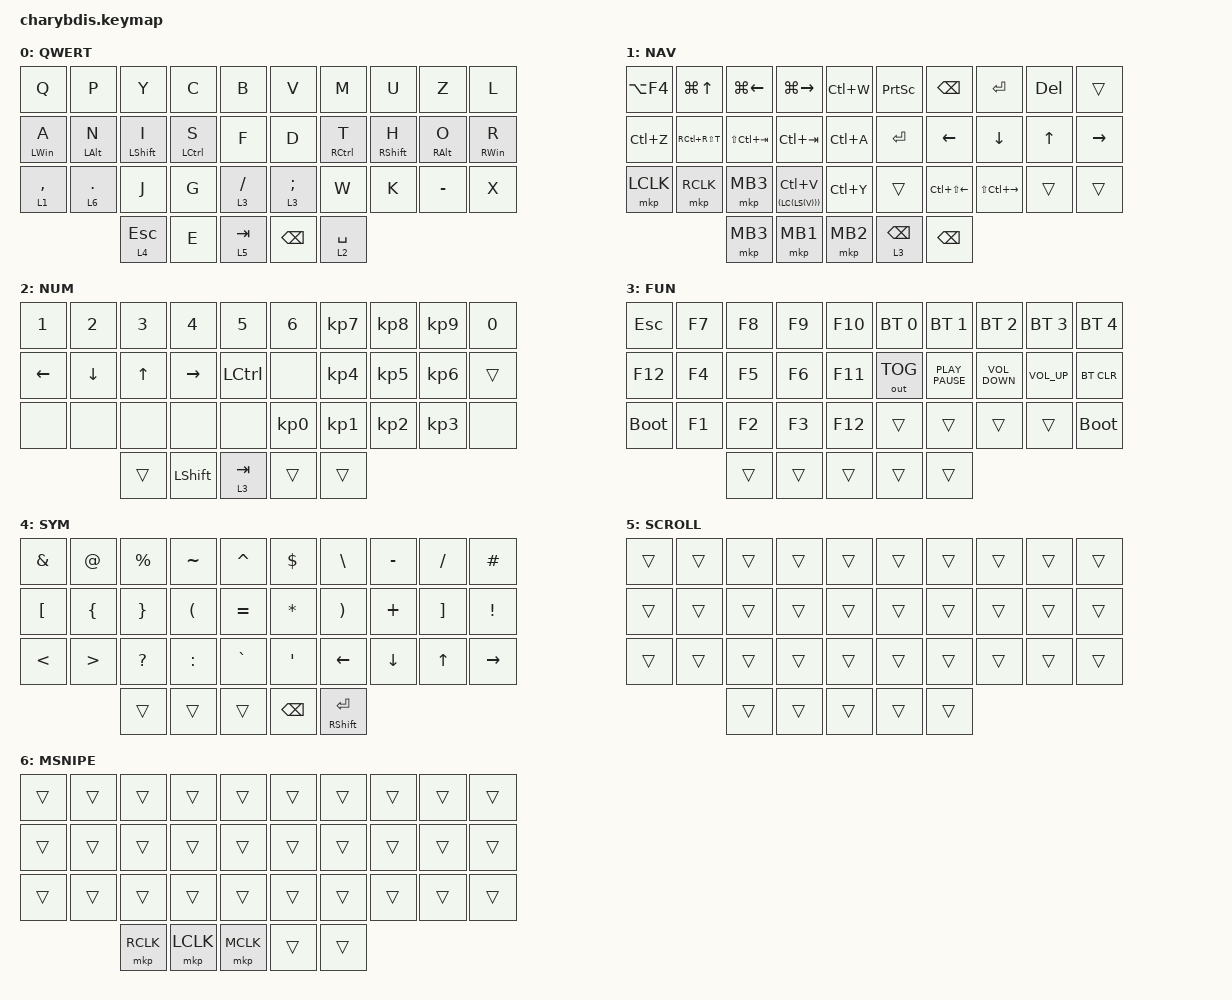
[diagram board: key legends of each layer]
#include <behaviors/mouse_keys.dtsi>
#include <dt-bindings/zmk/mouse.h>
#include <behaviors.dtsi>
#include <dt-bindings/zmk/bt.h>
#include <dt-bindings/zmk/keys.h>
#include <dt-bindings/zmk/outputs.h>

&lt {
    tapping-term-ms = <200>;
    flavor = "hold-preferred";
    quick-tap-ms = <150>;
    require-prior-idle-ms = <10>;
};

&mt {
    tapping-term-ms = <200>;
    flavor = "tap-preferred";
    require-prior-idle-ms = <200>;
};

/* Timeless homerow mods (recipe from https://github.com/urob/zmk-config#timeless-homerow-mods).
 * Balanced hold-taps that only resolve as a "hold" when the next key is on the
 * opposite hand or is a thumb key. Taps stay fast (quick-tap 175 ms and
 * require-prior-idle 150 ms), and the long 280 ms tapping term is never felt,
 * because the balanced flavor plus hold-trigger-on-release short-circuit it. */

#define KEY_L_TOP    0 1 2 3 4
#define KEY_L_HOME   10 11 12 13 14
#define KEY_L_BOTTOM 20 21 22 23 24
#define KEY_R_TOP    5 6 7 8 9
#define KEY_R_HOME   15 16 17 18 19
#define KEY_R_BOTTOM 25 26 27 28 29

#define THUMBS_L 30 31 32
#define THUMBS_R 33 34
#define THUMBS   THUMBS_L THUMBS_R

#define KEYS_L KEY_L_TOP KEY_L_HOME KEY_L_BOTTOM THUMBS_L
#define KEYS_R KEY_R_TOP KEY_R_HOME KEY_R_BOTTOM THUMBS_R

#define TIMELESS_HRM_PROPS                                                            \
    flavor = "balanced";                                                              \
    tapping-term-ms = <280>;                                                          \
    quick-tap-ms = <175>;                                                             \
    require-prior-idle-ms = <150>;                                                    \
    hold-trigger-on-release;

/ {
    chosen { zmk,matrix_transform = &five_column_transform; };
};

/ {
    combos {
        compatible = "zmk,combos";

        LeftClickRight {
            bindings = <&hrc_t_h RS(RCTRL) LCLK>;
            key-positions = <16 17>;
        };

        RightClickRight {
            bindings = <&hrc_h_o RS(RALT) RCLK>;
            key-positions = <17 18>;
        };

        enter {
            bindings = <&kp ENTER>;
            key-positions = <26 27>;
        };
    };

    behaviors {
        Shift_Enter: Shift_Enter {
            compatible = "zmk,behavior-hold-tap";
            label = "SHIFT_ENTER";
            bindings = <&kp>, <&kp>;

            #binding-cells = <2>;
            hold-trigger-key-positions = <34>;
            tapping-term-ms = <100>;
        };

        /* Left-hand homerow mods (A, N, I, S). */
        hml: left_homerow_mod {
            compatible = "zmk,behavior-hold-tap";
            #binding-cells = <2>;
            bindings = <&kp>, <&kp>;
            TIMELESS_HRM_PROPS
            hold-trigger-key-positions = <KEYS_R THUMBS>;
        };

        /* Right-hand homerow mods (T, H, O, R). */
        hmr: right_homerow_mod {
            compatible = "zmk,behavior-hold-tap";
            #binding-cells = <2>;
            bindings = <&kp>, <&kp>;
            TIMELESS_HRM_PROPS
            hold-trigger-key-positions = <KEYS_L THUMBS>;
        };

        /* HRM-mod combos (see ZMK issue #544): combo bindings wrapped in a
           Timeless hold-tap. A quick tap fires the combo; holding the homerow
           mods still yields the natural mod chord. The hold cell is the mod
           chord of the two homerow mods; the tap cell is the combo output
           sent through &mkp. */
        hrc_n_i: hrc_n_i {
            compatible = "zmk,behavior-hold-tap";
            #binding-cells = <2>;
            bindings = <&kp>, <&mkp>;
            TIMELESS_HRM_PROPS
            hold-trigger-key-positions = <KEYS_R THUMBS>;
        };

        hrc_t_h: hrc_t_h {
            compatible = "zmk,behavior-hold-tap";
            #binding-cells = <2>;
            bindings = <&kp>, <&mkp>;
            TIMELESS_HRM_PROPS
            hold-trigger-key-positions = <KEYS_L THUMBS>;
        };

        hrc_h_o: hrc_h_o {
            compatible = "zmk,behavior-hold-tap";
            #binding-cells = <2>;
            bindings = <&kp>, <&mkp>;
            TIMELESS_HRM_PROPS
            hold-trigger-key-positions = <KEYS_L THUMBS>;
        };
    };

    keymap {
        compatible = "zmk,keymap";

        QWERT {
            bindings =  <
  &kp Q           &kp P           &kp Y             &kp C               &kp B        &kp V          &kp M                &kp U              &kp Z            &kp L
  &hml LEFT_WIN A &hml LEFT_ALT N &hml LEFT_SHIFT I &hml LEFT_CONTROL S &kp F        &kp D          &hmr RIGHT_CONTROL T &hmr RIGHT_SHIFT H &hmr RIGHT_ALT O &hmr RIGHT_WIN R
  &lt 1 COMMA     &lt 6 PERIOD      &kp J             &kp G               &lt 3 SLASH    &lt 3 SEMICOLON  &kp W                &kp K              &kp MINUS        &kp X
                                  &lt 4 ESCAPE      &kp E             &lt 5 TAB    &kp BACKSPACE      &lt 2 SPACE
            >;
        };

        NAV {
            bindings = <
  &kp LA(F4)  &kp LG(UP_ARROW)  &kp LG(LEFT)     &kp LG(RIGHT)          &kp LC(W)    &kp PRINTSCREEN  &kp BACKSPACE     &kp ENTER          &kp DELETE    &trans
  &kp LC(Z)   &kp RC(RS(T))     &kp LS(LC(TAB))  &kp LC(TAB)            &kp LC(A)    &kp ENTER        &kp LEFT          &kp DOWN           &kp UP_ARROW  &kp RIGHT
  &mkp LCLK   &mkp RCLK         &mkp MB3         &mt (LC(LS(V))) LC(V)  &kp LC(Y)    &trans           &kp LC(LS(LEFT))  &kp LS(LC(RIGHT))  &trans        &trans
                                &mkp MB3         &mkp MB1               &mkp MB2     &lt 3 BACKSPACE  &kp BACKSPACE
            >;
        };

        NUM {
            bindings = <
  &kp N1    &kp N2          &kp N3        &kp N4          &kp N5              &kp N6           &kp KP_NUMBER_7  &kp KP_NUMBER_8  &kp KP_NUMBER_9  &kp N0
  &kp LEFT  &kp DOWN_ARROW  &kp UP_ARROW  &kp RIGHT       &kp LEFT_CONTROL    &none            &kp KP_NUMBER_4  &kp KP_NUMBER_5  &kp KP_NUMBER_6  &trans
  &none     &none           &none         &none           &none               &kp KP_NUMBER_0  &kp KP_NUMBER_1  &kp KP_NUMBER_2  &kp KP_NUMBER_3  &none
                            &trans        &kp LEFT_SHIFT  &lt 3 TAB           &trans           &trans
            >;
        };

        FUN {
            bindings = <
  &kp ESC  &kp F7  &kp F8  &kp F9  &kp F10    &bt BT_SEL 0  &bt BT_SEL 1      &bt BT_SEL 2       &bt BT_SEL 3     &bt BT_SEL 4
  &kp F12  &kp F4  &kp F5  &kp F6  &kp F11    &out OUT_TOG  &kp K_PLAY_PAUSE  &kp C_VOLUME_DOWN  &kp C_VOLUME_UP  &bt BT_CLR
  &bootloader   &kp F1  &kp F2  &kp F3  &kp F12    &trans        &trans            &trans             &trans           &bootloader
                   &trans  &trans  &trans     &trans        &trans
            >;
        };

        SYM {
            bindings = <
  &kp AMPERSAND     &kp AT_SIGN       &kp PERCENT      &kp TILDE          &kp CARET    &kp DOLLAR    &kp BACKSLASH   &kp MINUS     &kp SLASH          &kp HASH
  &kp LEFT_BRACKET  &kp LEFT_BRACE    &kp RIGHT_BRACE  &kp LEFT_PARENTHESIS  &kp EQUAL    &kp ASTERISK  &kp RIGHT_PARENTHESIS  &kp PLUS      &kp RIGHT_BRACKET  &kp EXCLAMATION
  &kp LESS_THAN     &kp GREATER_THAN  &kp QUESTION     &kp COLON             &kp GRAVE    &kp SQT       &kp LEFT               &kp DOWN  &kp UP           &kp RIGHT
                                      &trans           &trans                &trans       &kp BACKSPACE        &mt RIGHT_SHIFT ENTER
            >;
        };

        SCROLL {
            bindings = <
  &trans  &trans  &trans  &trans  &trans    &trans  &trans  &trans  &trans  &trans
  &trans  &trans  &trans  &trans  &trans    &trans  &trans  &trans  &trans  &trans
  &trans  &trans  &trans  &trans  &trans    &trans  &trans  &trans  &trans  &trans
                  &trans  &trans  &trans    &trans  &trans
            >;
        };

        MSNIPE {
            bindings = <
  &trans  &trans  &trans     &trans     &trans       &trans  &trans  &trans  &trans  &trans
  &trans  &trans  &trans     &trans     &trans       &trans  &trans  &trans  &trans  &trans
  &trans  &trans  &trans     &trans     &trans       &trans  &trans  &trans  &trans  &trans
                  &mkp RCLK  &mkp LCLK  &mkp MCLK    &trans  &trans
            >;
        };
    };
};
